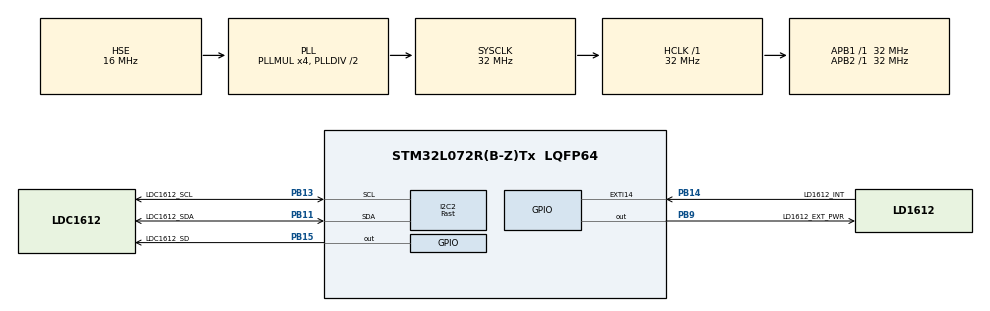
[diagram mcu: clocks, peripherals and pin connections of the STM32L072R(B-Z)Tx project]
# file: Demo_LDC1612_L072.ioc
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I2C2.I2C_Speed_Mode=I2C_Fast
I2C2.Timing=0x0060112F
Mcu.Family=STM32L0
Mcu.Name=STM32L072R(B-Z)Tx
Mcu.Package=LQFP64
PA13.Mode=Serial_Wire
PA13.Signal=SYS_SWDIO
PA14.Mode=Serial_Wire
PA14.Signal=SYS_SWCLK
PB11.GPIO_Label=LDC1612_SDA
PB11.Mode=I2C
PB11.Signal=I2C2_SDA
PB13.GPIO_Label=LDC1612_SCL
PB13.Mode=I2C
PB13.Signal=I2C2_SCL
PB14.GPIO_Label=LD1612_INT
PB14.Signal=GPXTI14
PB15.GPIO_Label=LDC1612_SD
PB15.Signal=GPIO_Output
PB9.GPIO_Label=LD1612_EXT_PWR
PB9.Signal=GPIO_Output
PH0-OSC_IN.Mode=HSE-External-Oscillator
PH0-OSC_IN.Signal=RCC_OSC_IN
PH1-OSC_OUT.Mode=HSE-External-Oscillator
PH1-OSC_OUT.Signal=RCC_OSC_OUT
ProjectManager.HeapSize=0x200
ProjectManager.StackSize=0x400
ProjectManager.TargetToolchain=STM32CubeIDE
RCC.AHBFreq_Value=32000000
RCC.APB1Freq_Value=32000000
RCC.APB1TimFreq_Value=32000000
RCC.APB2Freq_Value=32000000
RCC.APB2TimFreq_Value=32000000
RCC.HCLKFreq_Value=32000000
RCC.HSE_VALUE=16000000
RCC.HSI16_VALUE=16000000
RCC.HSI48_VALUE=48000000
RCC.HSI_VALUE=16000000
RCC.LSE_VALUE=32768
RCC.MSI_VALUE=2097000
RCC.PLLMUL=RCC_PLLMUL_4
RCC.PLLSourceVirtual=RCC_PLLSOURCE_HSE
RCC.SYSCLKFreq_VALUE=32000000
RCC.SYSCLKSource=RCC_SYSCLKSOURCE_PLLCLK
RCC.VCOOutputFreq_Value=64000000
board=custom

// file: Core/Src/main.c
/* USER CODE BEGIN Header */
/**
  ******************************************************************************
  * @file           : main.c
  * @brief          : Main program body
  ******************************************************************************
  * @attention
  *
  * Copyright (c) 2025 STMicroelectronics.
  * All rights reserved.
  *
  * This software is licensed under terms that can be found in the LICENSE file
  * in the root directory of this software component.
  * If no LICENSE file comes with this software, it is provided AS-IS.
  *
  ******************************************************************************
  */
/* USER CODE END Header */
#include "main.h"

/* USER CODE BEGIN Includes */
#include "ldc1612_1614.h"
/* USER CODE END Includes */

I2C_HandleTypeDef hi2c2;

void SystemClock_Config(void);
static void MX_GPIO_Init(void);
static void MX_I2C2_Init(void);

/* USER CODE BEGIN 0 */
LDC1612_1614_All_Data_TypeDef my_ldc;
/* USER CODE END 0 */

int main(void)
{

  /* MCU Configuration--------------------------------------------------------*/

  /* Reset of all peripherals, Initializes the Flash interface and the Systick. */
  HAL_Init();

  /* Configure the system clock */
  SystemClock_Config();

  /* Initialize all configured peripherals */
  MX_GPIO_Init();
  MX_I2C2_Init();
  /* USER CODE BEGIN 2 */

  // parameters
  // 2L 14T QUARTZ
  my_ldc.rcount_0 = 0x03e8;
  my_ldc.offset_0 = 0;
  my_ldc.settlecount_0 = 0x0005;
  my_ldc.clock_dividers_0 = 0x3002;
  my_ldc.config = 0x1600;
  my_ldc.mux_config = 0x020e;
  my_ldc.drive_current_0 = 0xa800; //2L 150pF 9mm 14t

  // enable dc-dc
  HAL_GPIO_WritePin(LD1612_EXT_PWR_GPIO_Port, LD1612_EXT_PWR_Pin, 1);
  HAL_GPIO_WritePin(LDC1612_1614_SD_GPIO_PORT, LDC1612_1614_SD_PIN, 0);
  HAL_Delay(200);

  // init devuce
  ldc1612_1614_write_all_registers(my_ldc);
  my_ldc = ldc1612_1614_read_all_data();
  // test reset device function
  ldc1612_1614_reset_device();
  my_ldc = ldc1612_1614_read_all_data();

  // init again
  my_ldc.rcount_0 = 0x03e8;
  my_ldc.offset_0 = 0;
  my_ldc.settlecount_0 = 0x0005;
  my_ldc.clock_dividers_0 = 0x3002;
  my_ldc.config = 0x1600;
  my_ldc.mux_config = 0x020e;
  my_ldc.drive_current_0 = 0xa800; //2L 150pF 9mm 14t

  ldc1612_1614_write_all_registers(my_ldc);
  my_ldc = ldc1612_1614_read_all_data();

  // read channel (data & error)
  ldc1612_1614_read_channel(0, &my_ldc.data_channel_0, &my_ldc.error_channel_0);
  /* USER CODE END 2 */

  /* Infinite loop */
  /* USER CODE BEGIN WHILE */
  while (1)
  {
	  // 1 second work
	  ldc1612_1614_exit_sleep_mode();
	  for(int i = 0; i < 10; i++) {
		  ldc1612_1614_read_channel(0, &my_ldc.data_channel_0, &my_ldc.error_channel_0);
		  HAL_Delay(100);
	  }

	  // 1 second sleep
	  ldc1612_1614_enter_sleep_mode();
	  HAL_Delay(1000);
    /* USER CODE END WHILE */

  }
}

void SystemClock_Config(void)
{
  RCC_OscInitTypeDef RCC_OscInitStruct = {0};
  RCC_ClkInitTypeDef RCC_ClkInitStruct = {0};

  /** Configure the main internal regulator output voltage
  */
  __HAL_PWR_VOLTAGESCALING_CONFIG(PWR_REGULATOR_VOLTAGE_SCALE1);

  /** Initializes the RCC Oscillators according to the specified parameters
  * in the RCC_OscInitTypeDef structure.
  */
  RCC_OscInitStruct.OscillatorType = RCC_OSCILLATORTYPE_HSE;
  RCC_OscInitStruct.HSEState = RCC_HSE_ON;
  RCC_OscInitStruct.PLL.PLLState = RCC_PLL_ON;
  RCC_OscInitStruct.PLL.PLLSource = RCC_PLLSOURCE_HSE;
  RCC_OscInitStruct.PLL.PLLMUL = RCC_PLLMUL_4;
  RCC_OscInitStruct.PLL.PLLDIV = RCC_PLLDIV_2;
  if (HAL_RCC_OscConfig(&RCC_OscInitStruct) != HAL_OK)
  {
    Error_Handler();
  }

  /** Initializes the CPU, AHB and APB buses clocks
  */
  RCC_ClkInitStruct.ClockType = RCC_CLOCKTYPE_HCLK|RCC_CLOCKTYPE_SYSCLK
                              |RCC_CLOCKTYPE_PCLK1|RCC_CLOCKTYPE_PCLK2;
  RCC_ClkInitStruct.SYSCLKSource = RCC_SYSCLKSOURCE_PLLCLK;
  RCC_ClkInitStruct.AHBCLKDivider = RCC_SYSCLK_DIV1;
  RCC_ClkInitStruct.APB1CLKDivider = RCC_HCLK_DIV1;
  RCC_ClkInitStruct.APB2CLKDivider = RCC_HCLK_DIV1;

  if (HAL_RCC_ClockConfig(&RCC_ClkInitStruct, FLASH_LATENCY_1) != HAL_OK)
  {
    Error_Handler();
  }
}

static void MX_I2C2_Init(void)
{

  hi2c2.Instance = I2C2;
  hi2c2.Init.Timing = 0x0060112F;
  hi2c2.Init.OwnAddress1 = 0;
  hi2c2.Init.AddressingMode = I2C_ADDRESSINGMODE_7BIT;
  hi2c2.Init.DualAddressMode = I2C_DUALADDRESS_DISABLE;
  hi2c2.Init.OwnAddress2 = 0;
  hi2c2.Init.OwnAddress2Masks = I2C_OA2_NOMASK;
  hi2c2.Init.GeneralCallMode = I2C_GENERALCALL_DISABLE;
  hi2c2.Init.NoStretchMode = I2C_NOSTRETCH_DISABLE;
  if (HAL_I2C_Init(&hi2c2) != HAL_OK)
  {
    Error_Handler();
  }

  /** Configure Analogue filter
  */
  if (HAL_I2CEx_ConfigAnalogFilter(&hi2c2, I2C_ANALOGFILTER_ENABLE) != HAL_OK)
  {
    Error_Handler();
  }

  /** Configure Digital filter
  */
  if (HAL_I2CEx_ConfigDigitalFilter(&hi2c2, 0) != HAL_OK)
  {
    Error_Handler();
  }

}

static void MX_GPIO_Init(void)
{
  GPIO_InitTypeDef GPIO_InitStruct = {0};

  /* GPIO Ports Clock Enable */
  __HAL_RCC_GPIOH_CLK_ENABLE();
  __HAL_RCC_GPIOB_CLK_ENABLE();
  __HAL_RCC_GPIOA_CLK_ENABLE();

  /*Configure GPIO pin Output Level */
  HAL_GPIO_WritePin(GPIOB, LDC1612_SD_Pin|LD1612_EXT_PWR_Pin, GPIO_PIN_RESET);

  /*Configure GPIO pin : LD1612_INT_Pin */
  GPIO_InitStruct.Pin = LD1612_INT_Pin;
  GPIO_InitStruct.Mode = GPIO_MODE_IT_RISING;
  GPIO_InitStruct.Pull = GPIO_NOPULL;
  HAL_GPIO_Init(LD1612_INT_GPIO_Port, &GPIO_InitStruct);

  /*Configure GPIO pins : LDC1612_SD_Pin LD1612_EXT_PWR_Pin */
  GPIO_InitStruct.Pin = LDC1612_SD_Pin|LD1612_EXT_PWR_Pin;
  GPIO_InitStruct.Mode = GPIO_MODE_OUTPUT_PP;
  GPIO_InitStruct.Pull = GPIO_NOPULL;
  GPIO_InitStruct.Speed = GPIO_SPEED_FREQ_LOW;
  HAL_GPIO_Init(GPIOB, &GPIO_InitStruct);

}

void Error_Handler(void)
{
  __disable_irq();
  while (1)
  {
  }
}
